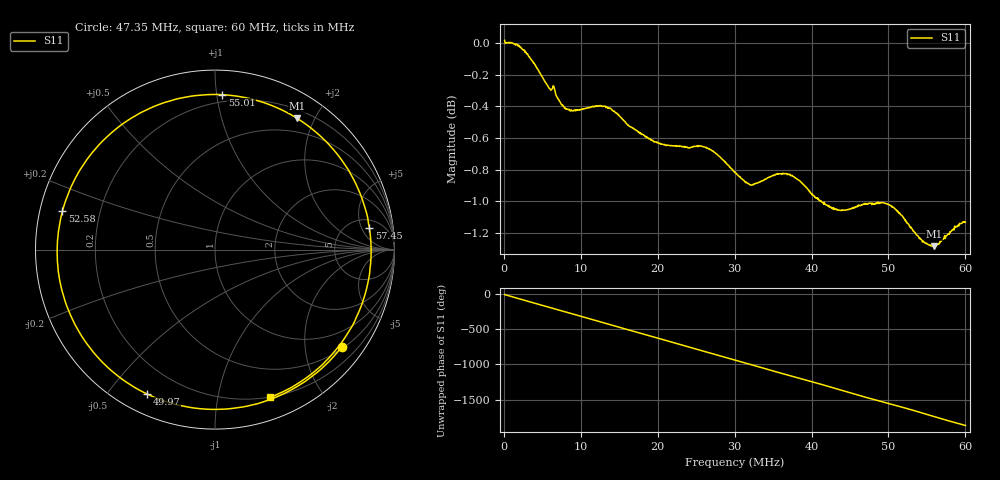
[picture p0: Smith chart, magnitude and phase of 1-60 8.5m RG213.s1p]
# Hz S RI R 50
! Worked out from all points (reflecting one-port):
!   1010 points, 100 kHz to 60 MHz, reference 50 ohm
!   lowest |S11| = -1.3 dB at 55.9 MHz (marker M1), VSWR 13.55, Z = 15.5 + j88.4 ohm
!   phase of S11 starts at -3 deg and turns -1866 deg over the sweep
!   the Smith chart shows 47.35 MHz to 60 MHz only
!   S11 on the Smith chart (normalised r, x): 47.35 MHz: 0.55, -2.85; 49.97 MHz: 0.08, -0.63; 52.58 MHz: 0.07, +0.12; 55.01 MHz: 0.15, +1.04; 57.45 MHz: 7, +7; 60 MHz: 0.20, -1.42
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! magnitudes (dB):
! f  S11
! 100 kHz  0.0
! 1.703 MHz  0.0
! 2.831 MHz  -0.1
! 5.799 MHz  -0.3
! 6.571 MHz  -0.3
! 7.639 MHz  -0.4
! 8.886 MHz  -0.4
! 12.92 MHz  -0.4
! 15.12 MHz  -0.5
! 16.31 MHz  -0.5
! 19.39 MHz  -0.6
! 22.6 MHz  -0.7
! 26.64 MHz  -0.7
! 30.08 MHz  -0.8
! 32.16 MHz  -0.9
! 35.66 MHz  -0.8
! 37.56 MHz  -0.8
! 42.07 MHz  -1.0
! 43.61 MHz  -1.1
! 45.04 MHz  -1.0
! 47.35 MHz  -1.0
! 49.97 MHz  -1.0
! 52.52 MHz  -1.1
! 52.58 MHz  -1.1
! 55.01 MHz  -1.3
! 55.9 MHz  -1.3
! 57.45 MHz  -1.2
! 60 MHz  -1.1
